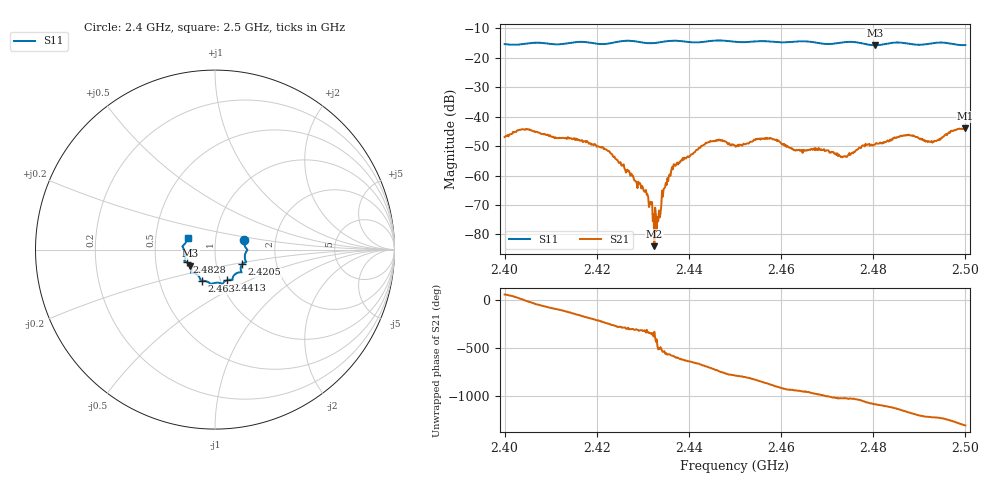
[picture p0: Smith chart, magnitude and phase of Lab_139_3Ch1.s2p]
# Hz S RI R 50
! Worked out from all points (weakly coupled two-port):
!   601 points, 2.4 GHz to 2.5 GHz, reference 50 ohm
!   highest |S21| = -43.97 dB at 2.5 GHz (marker M1); lowest = -84.0 dB at 2.4325 GHz (marker M2)
!   lowest |S11| = -15.7 dB at 2.4803 GHz (marker M3), VSWR 1.39, Z = 37.4 - j6.85 ohm
!   |S11| at or under -10 dB: start of sweep to end of sweep
!   S12 and S22 are empty: the file has one direction only
!   S11 on the Smith chart (normalised r, x): 2.4 GHz: 1.38, +0.15; 2.4205 GHz: 1.34, -0.22; 2.4413 GHz: 1.08, -0.38; 2.463 GHz: 0.82, -0.29; 2.4828 GHz: 0.72, -0.10; 2.5 GHz: 0.73, +0.10
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2.4e9  0.1629 0.0525  0.00248 0.00377  0 0  0 0
2.405167e9  0.1766 0.00351  0.0058 -0.00175  0 0  0 0
2.416667e9  0.1733 -0.0697  -0.00383 -0.00104  0 0  0 0
2.4205e9  0.152 -0.0809  -0.00252 0.00179  0 0  0 0
2.4295e9  0.1333 -0.1275  0.000467 0.000524  0 0  0 0
2.4325e9  0.1049 -0.1441  5.43e-05 3.24e-05  0 0  0 0
2.433333e9  0.1004 -0.1513  -0.000149 -7.48e-05  0 0  0 0
2.434667e9  0.0979 -0.1617  -0.000601 -9.7e-05  0 0  0 0
2.436333e9  0.0979 -0.1686  -0.00112 0.000845  0 0  0 0
2.441333e9  0.0675 -0.1698  0.00101 0.00231  0 0  0 0
2.446167e9  0.0416 -0.1928  0.00396 -0.000776  0 0  0 0
2.45e9  0.0248 -0.1857  0.00144 -0.00288  0 0  0 0
2.457333e9  -0.0268 -0.1881  -0.00374 -0.00209  0 0  0 0
2.463e9  -0.072 -0.1736  -0.00212 0.00163  0 0  0 0
2.466667e9  -0.0817 -0.1673  -0.00119 0.00256  0 0  0 0
2.473833e9  -0.1309 -0.1304  0.000959 0.00191  0 0  0 0
2.480333e9  -0.1372 -0.0891  0.00334 -0.000126  0 0  0 0
2.482833e9  -0.1586 -0.0702  0.00345 -0.00149  0 0  0 0
2.483333e9  -0.1626 -0.0682  0.00334 -0.0018  0 0  0 0
2.4875e9  -0.1671 -0.052  0.000464 -0.00483  0 0  0 0
2.493333e9  -0.1789 0.0112  -0.00287 -0.00263  0 0  0 0
2.5e9  -0.1521 0.0639  -0.00472 0.00421  0 0  0 0
